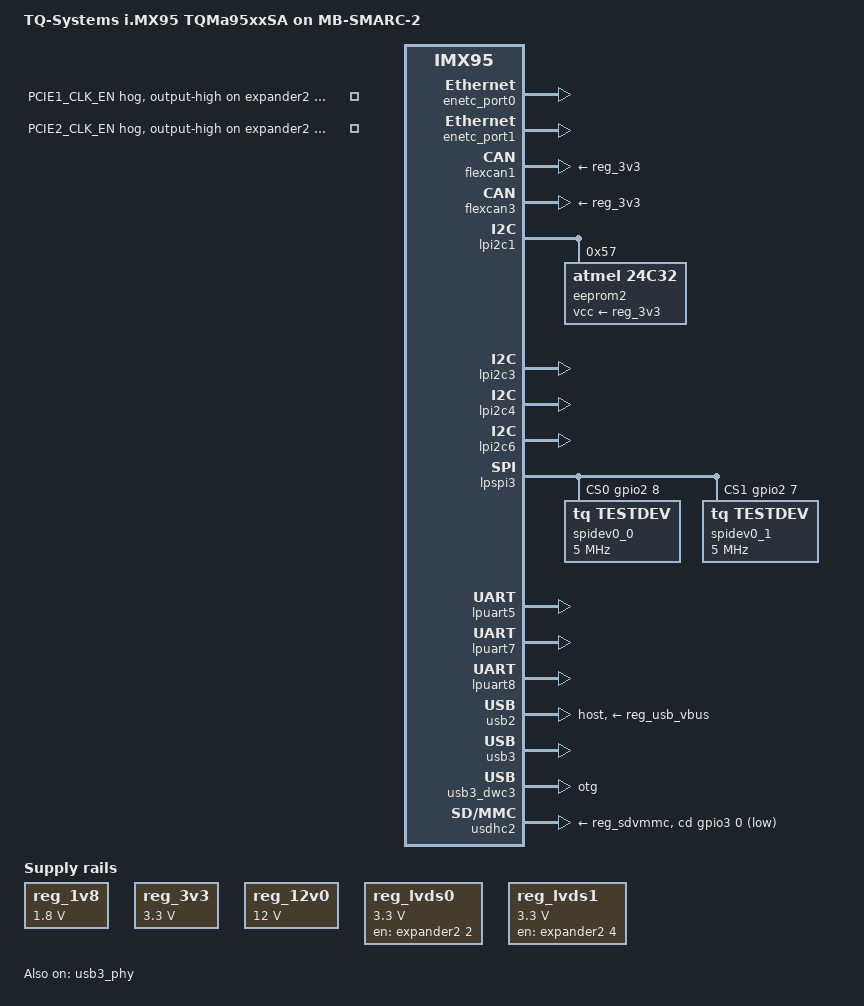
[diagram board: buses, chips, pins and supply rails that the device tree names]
// SPDX-License-Identifier: (GPL-2.0-or-later OR MIT)
/*
 * Copyright (c) 2024 TQ-Systems GmbH <linux@ew.tq-group.com>,
 * D-82229 Seefeld, Germany.
 * Author: Alexander Stein
 */

/dts-v1/;

#include <dt-bindings/phy/phy-imx8-pcie.h>
#include "imx95-tqma9596sa.dtsi"

/ {
	model = "TQ-Systems i.MX95 TQMa95xxSA on MB-SMARC-2";
	compatible = "tq,imx95-tqma9596sa-mb-smarc-2", "tq,imx95-tqma9596sa", "fsl,imx95";

	aliases {
		rtc0 = &pcf85063;
		rtc1 = &scmi_bbm;
	};

	chosen {
		bootargs = "console=ttyLP6,115200 earlycon";
		stdout-path = &lpuart7;
	};


	backlight_lvds0: backlight-lvds0 {
		compatible = "pwm-backlight";
		pwms = <&tpm3 0 100000 0>;
		brightness-levels = <0 4 8 16 32 64 128 255>;
		default-brightness-level = <7>;
		enable-gpios = <&expander2 1 GPIO_ACTIVE_HIGH>;
		power-supply = <&reg_12v0>;
		status = "disabled";
	};

	backlight_lvds1: backlight-lvds1 {
		compatible = "pwm-backlight";
		pwms = <&tpm4 0 100000 0>;
		brightness-levels = <0 4 8 16 32 64 128 255>;
		default-brightness-level = <7>;
		enable-gpios = <&expander2 3 GPIO_ACTIVE_HIGH>;
		power-supply = <&reg_12v0>;
		status = "disabled";
	};

	panel_lvds0: panel-lvds0 {
		/*
		 * Display is not fixed, so compatible has to be added from
		 * DT
		 */
		backlight = <&backlight_lvds0>;
		power-supply = <&reg_lvds0>;
		status = "disabled";

		port {
			panel_in_lvds0: endpoint {
			};
		};
	};

	panel_lvds1: panel-lvds1 {
		/*
		 * Display is not fixed, so compatible has to be added from
		 * DT
		 */
		backlight = <&backlight_lvds1>;
		power-supply = <&reg_lvds1>;
		status = "disabled";

		port {
			panel_in_lvds1: endpoint {
			};
		};
	};

	reg_1v8: regulator-1v8 {
		compatible = "regulator-fixed";
		regulator-name = "1V8";
		regulator-min-microvolt = <1800000>;
		regulator-max-microvolt = <1800000>;
		regulator-always-on;
	};

	reg_3v3: regulator-3v3 {
		compatible = "regulator-fixed";
		regulator-name = "3V3";
		regulator-min-microvolt = <3300000>;
		regulator-max-microvolt = <3300000>;
		regulator-always-on;
	};

	reg_12v0: regulator-12v0 {
		compatible = "regulator-fixed";
		regulator-name = "12V0";
		regulator-min-microvolt = <12000000>;
		regulator-max-microvolt = <12000000>;
		regulator-always-on;
	};

	reg_lvds0: regulator-lvds0 {
		compatible = "regulator-fixed";
		regulator-name = "LCD0_VDD_EN";
		regulator-min-microvolt = <3300000>;
		regulator-max-microvolt = <3300000>;
		gpio = <&expander2 2 GPIO_ACTIVE_HIGH>;
		enable-active-high;
	};

	reg_lvds1: regulator-lvds1 {
		compatible = "regulator-fixed";
		regulator-name = "LCD1_VDD_EN";
		regulator-min-microvolt = <3300000>;
		regulator-max-microvolt = <3300000>;
		gpio = <&expander2 4 GPIO_ACTIVE_HIGH>;
		enable-active-high;
	};
};

&enetc_port0 {
	status = "okay";
};

&enetc_port1 {
	status = "okay";
};

&ethphy0 {
	/* LED1: 1Gbit/s, LED2: link+activity */
	ti,led-function = <0x0b50>;
	/* LED1/2: active high, driven by PHY function */
	ti,led-ctrl = <0x1441>;
};

&ethphy3 {
	/* LED1: 1Gbit/s, LED2: link+activity */
	ti,led-function = <0x0b50>;
	/* LED1/2: active high, driven by PHY function */
	ti,led-ctrl = <0x1441>;
};

&expander2 {
	pcie1-clk-en-hog {
		gpio-hog;
		gpios = <14 GPIO_ACTIVE_HIGH>;
		output-high;
		line-name = "PCIE1_CLK_EN";
	};

	pcie2-clk-en-hog {
		gpio-hog;
		gpios = <15 GPIO_ACTIVE_HIGH>;
		output-high;
		line-name = "PCIE2_CLK_EN";
	};
};

&flexcan1 {
	pinctrl-names = "default";
	pinctrl-0 = <&pinctrl_flexcan1>;
	xceiver-supply = <&reg_3v3>;
	status = "okay";
};

&flexcan3 {
	pinctrl-names = "default";
	pinctrl-0 = <&pinctrl_flexcan3>;
	xceiver-supply = <&reg_3v3>;
	status = "okay";
};

&gpio1 {
	pinctrl-names = "default";
	pinctrl-0 = <&pinctrl_gpio1>;
	gpio-line-names = "", "", "", "",
			  "", "", "", "",
			  "", "", "GPIO7", "GPIO8",
			  "", "GPIO9", "", "",
			  "", "", "", "",
			  "", "", "", "",
			  "", "", "", "",
			  "", "", "", "";
};

&gpio2 {
	pinctrl-names = "default";
	pinctrl-0 = <&pinctrl_gpio2>;
	gpio-line-names = "", "", "", "",
			  "", "", "", "",
			  "", "", "", "",
			  "", "", "", "",
			  "", "", "", "GPIO5",
			  "", "", "GPIO6", "",
			  "", "", "", "",
			  "", "", "", "";
};

&lpi2c1 {
	tlv320aic3x04: audio-codec@18 {
		compatible = "ti,tlv320aic32x4";
		reg = <0x18>;
		// TODO: Fix audio clock
		// clocks = <&mclkout0_lpcg 0>;
		clock-names = "mclk";
		iov-supply = <&reg_1v8>;
		ldoin-supply = <&reg_3v3>;
	};

	eeprom2: eeprom@57 {
		compatible = "atmel,24c32";
		reg = <0x57>;
		pagesize = <32>;
		vcc-supply = <&reg_3v3>;
	};
};

&lpi2c3 {
	status = "okay";
};

&lpi2c4 {
	status = "okay";
};

&lpi2c6 {
	status = "okay";
};

&lpspi3 {
	pinctrl-names = "default";
	pinctrl-0 = <&pinctrl_lpspi3>;
	cs-gpios = <&gpio2 8 GPIO_ACTIVE_HIGH>, <&gpio2 7 GPIO_ACTIVE_HIGH>;
	status = "okay";

	spidev0_0: spidev0@0 {
		compatible = "tq,testdev";
		reg = <0>;
		spi-max-frequency = <5000000>;
	};

	spidev0_1: spidev0@1 {
		compatible = "tq,testdev";
		reg = <1>;
		spi-max-frequency = <5000000>;
	};
};

/* SER0 */
&lpuart1 {
	status = "reserved";
};

/* SER3 */
&lpuart5 {
	status = "okay";
};

/* SER1 */
&lpuart7 {
	status = "okay";
};

/* SER2 */
&lpuart8 {
	status = "okay";
};

&tlv320aic3x04 {
	/* TODO: audio_blk_ctrl is missing */
	/* clocks = <&audio_blk_ctrl IMX95_CLK_AUDIOMIX_SAI3_MCLK1>; */
	clock-names = "mclk";
	status = "disabled";
};

&tpm3 {
	pinctrl-names = "default";
	pinctrl-0 = <&pinctrl_tpm3>;
};

&tpm4 {
	pinctrl-names = "default";
	pinctrl-0 = <&pinctrl_tpm4>;
};

/* X4 */
&usb2 {
	dr_mode = "host";
	vbus-supply = <&reg_usb_vbus>;
	hnp-disable;
	srp-disable;
	adp-disable;
	disable-over-current;
	status = "okay";
};

&usb3 {
	status = "okay";
};

&usb3_phy {
	status = "okay";
};

&usb3_dwc3 {
	dr_mode = "otg";
	hnp-disable;
	srp-disable;
	adp-disable;
	usb-role-switch;
	role-switch-default-mode = "none";
	snps,dis-u1-entry-quirk;
	snps,dis-u2-entry-quirk;
	status = "okay";

	port {
		usb3_drd_sw: endpoint {
		};
	};
};

/* X16 */
&usdhc2 {
	cd-gpios = <&gpio3 0 GPIO_ACTIVE_LOW>;
	vmmc-supply = <&reg_sdvmmc>;
	no-1-8-v;
	no-sdio;
	disable-wp;
	status = "okay";
};
